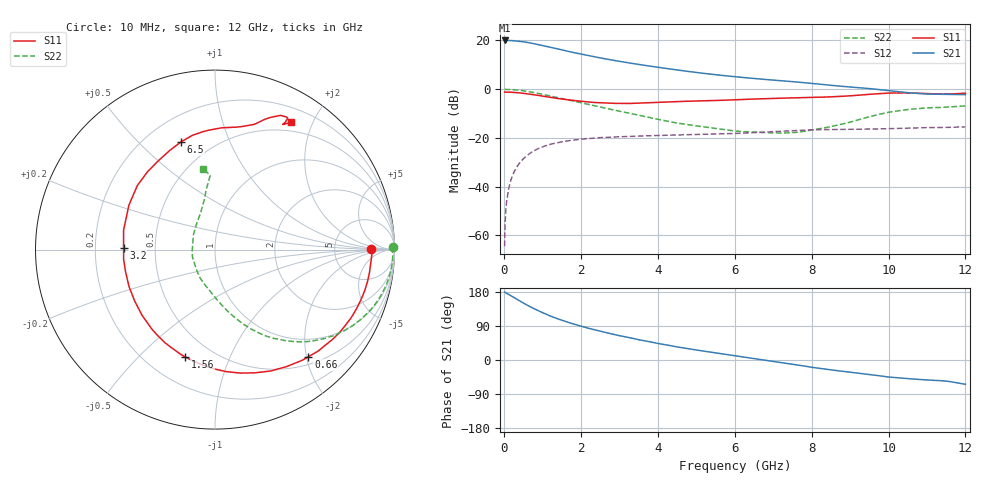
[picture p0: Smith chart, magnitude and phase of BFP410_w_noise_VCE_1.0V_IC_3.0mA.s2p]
! Infineon Technologies  Discrete & RF Semiconductors
! BFP410
! VCE =  1.0 V,  IC =  3.0 mA
! Common Emitter S-Parameters:  Nov 2015
# GHz  S  MA  R  50
!  f  S11  S21  S12  S22
! GHz  MAG  ANG  MAG  ANG  MAG  ANG  MAG  ANG
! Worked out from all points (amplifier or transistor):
!   243 points, 10 MHz to 12 GHz, reference 50 ohm
!   highest |S21| = 20.0 dB at 20 MHz (marker M1)
!   |S21| within 3 dB of that: start of sweep to 1.26 GHz
!   unconditionally stable (mu >= 1): 3.585 GHz to end of sweep
!   at 240 MHz: K = 0.06, MSG = 27.2 dB, |S12| = -34.6 dB
!   at 1.84 GHz: K = 0.50, MSG = 17.9 dB, |S12| = -20.8 dB
!   at 12 GHz: K = 1.10, MAG = 4.7 dB, |S12| = -15.5 dB
!   lowest NFmin = 0.87 dB at 900 MHz
!   S11 on the Smith chart (normalised r, x): 10 MHz: 14, +1; 660 MHz: 0.64, -2.04; 1.56 GHz: 0.36, -0.70; 3.2 GHz: 0.33, +0.01; 6.5 GHz: 0.34, +0.68; 12 GHz: 0.38, +1.70
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0.01  0.8708 0.3  9.934 179.6  0.0006 55.9  0.9916 0.7
0.02  0.875 -1.4  10.02 178.8  0.0015 93.4  0.9893 -0.5
0.05  0.8717 -3.6  9.968 176.4  0.004 88.1  0.9914 -2.0
0.105  0.8705 -7.9  10.01 173.7  0.0082 85.2  0.9898 -4.5
0.3  0.8545 -22.6  9.816 161.8  0.0232 77.7  0.9689 -13.1
0.5  0.8235 -37.5  9.406 150.2  0.0376 70.1  0.9289 -21.3
0.66  0.7919 -48.9  8.95 141.4  0.0477 64.0  0.8864 -27.5
0.8  0.7639 -58.6  8.516 134.2  0.0558 59.3  0.8469 -32.5
1  0.7215 -72.1  7.891 124.7  0.0657 53.0  0.7856 -39.1
1.3  0.6633 -90.8  6.972 112.1  0.0774 44.8  0.6972 -47.5
1.56  0.6203 -105.5  6.248 102.8  0.0848 39.1  0.6273 -53.4
1.76  0.5929 -116.1  5.76 96.3  0.0895 35.3  0.5808 -57.5
2.02  0.5636 -129.1  5.211 88.7  0.0946 30.9  0.5255 -62.1
2.58  0.5216 -155.9  4.269 73.7  0.1021 23.0  0.4181 -71.5
3.2  0.5093 179.0  3.513 60.2  0.107 16.7  0.3283 -80.9
4.1  0.5421 150.2  2.748 41.9  0.1128 10.0  0.2324 -97.0
5  0.5739 131.0  2.204 26.2  0.1175 4.9  0.1773 -118.5
6.1  0.6105 113.2  1.776 9.7  0.1244 0.3  0.1365 -147.6
6.5  0.6294 107.5  1.661 3.7  0.1283 -1.4  0.1324 -161.6
8.2  0.6847 83.6  1.271 -21.8  0.1475 -12.9  0.1536 138.5
10.2  0.8356 62.8  0.899 -46.6  0.1565 -24.1  0.3551 97.1
12  0.828 59.1  0.773 -64.1  0.1688 -36.4  0.4545 98.2
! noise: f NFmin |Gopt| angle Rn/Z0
0.45  0.92  0.39  6  0.24
0.9  0.87  0.38  20  0.22
1.8  1.07  0.29  53  0.19
2.4  1.11  0.25  58  0.19
5.5  2.12  0.33  -139  0.2
10  3.64  0.68  -55  1.98
